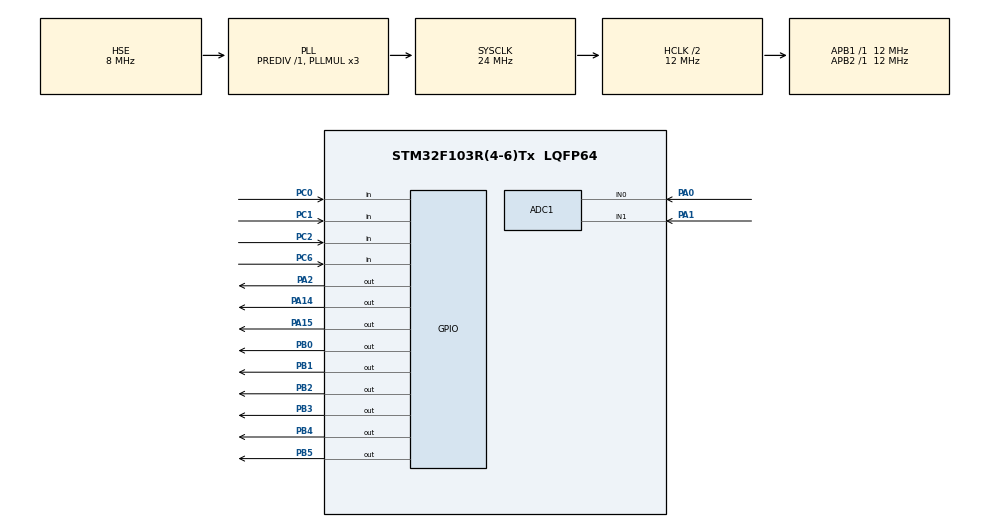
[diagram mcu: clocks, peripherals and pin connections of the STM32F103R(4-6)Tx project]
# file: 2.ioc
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ADC1.Channel-0\#ChannelRegularConversion=ADC_CHANNEL_0
ADC1.ExternalTrigConv=ADC_EXTERNALTRIGCONV_T3_TRGO
ADC1.NbrOfConversionFlag=1
ADC1.Rank-0\#ChannelRegularConversion=1
ADC1.SamplingTime-0\#ChannelRegularConversion=ADC_SAMPLETIME_1CYCLE_5
ADC1.master=1
Dma.ADC1.0.Direction=DMA_PERIPH_TO_MEMORY
Dma.ADC1.0.Instance=DMA1_Channel1
Dma.ADC1.0.MemDataAlignment=DMA_MDATAALIGN_HALFWORD
Dma.ADC1.0.MemInc=DMA_MINC_ENABLE
Dma.ADC1.0.Mode=DMA_CIRCULAR
Dma.ADC1.0.PeriphDataAlignment=DMA_PDATAALIGN_HALFWORD
Dma.ADC1.0.PeriphInc=DMA_PINC_DISABLE
Dma.ADC1.0.Priority=DMA_PRIORITY_LOW
Dma.Request0=ADC1
Mcu.Family=STM32F1
Mcu.Name=STM32F103R(4-6)Tx
Mcu.Package=LQFP64
NVIC.DMA1_Channel1_IRQn=true\:0\:0\:false\:false\:true\:false\:true\:true
NVIC.PriorityGroup=NVIC_PRIORITYGROUP_4
NVIC.TIM2_IRQn=true\:0\:0\:false\:false\:true\:true\:true\:true
PA0-WKUP.Signal=ADCx_IN0
PA1.Signal=ADCx_IN1
PA14.PinState=GPIO_PIN_SET
PA14.Signal=GPIO_Output
PA15.Signal=GPIO_Output
PA2.Signal=GPIO_Output
PB0.Signal=GPIO_Output
PB1.Signal=GPIO_Output
PB2.Signal=GPIO_Output
PB3.Signal=GPIO_Output
PB4.Signal=GPIO_Output
PB5.Signal=GPIO_Output
PC0.Signal=GPIO_Input
PC1.Signal=GPIO_Input
PC14-OSC32_IN.Mode=LSE-External-Oscillator
PC14-OSC32_IN.Signal=RCC_OSC32_IN
PC15-OSC32_OUT.Mode=LSE-External-Oscillator
PC15-OSC32_OUT.Signal=RCC_OSC32_OUT
PC2.Signal=GPIO_Input
PC6.Signal=GPIO_Input
PD0-OSC_IN.Mode=HSE-External-Oscillator
PD0-OSC_IN.Signal=RCC_OSC_IN
PD1-OSC_OUT.Mode=HSE-External-Oscillator
PD1-OSC_OUT.Signal=RCC_OSC_OUT
ProjectManager.HeapSize=0x200
ProjectManager.StackSize=0x400
ProjectManager.TargetToolchain=MDK-ARM V5
RCC.AHBCLKDivider=RCC_SYSCLK_DIV2
RCC.AHBFreq_Value=12000000
RCC.APB1Freq_Value=12000000
RCC.APB1TimFreq_Value=12000000
RCC.APB2Freq_Value=12000000
RCC.APB2TimFreq_Value=12000000
RCC.HCLKFreq_Value=12000000
RCC.PLLMUL=RCC_PLL_MUL3
RCC.PLLSourceVirtual=RCC_PLLSOURCE_HSE
RCC.SYSCLKFreq_VALUE=24000000
RCC.SYSCLKSource=RCC_SYSCLKSOURCE_PLLCLK
RCC.USBFreq_Value=24000000
SH.ADCx_IN0.0=ADC1_IN0,IN0
SH.ADCx_IN1.0=ADC1_IN1,IN1
TIM2.AutoReloadPreload=TIM_AUTORELOAD_PRELOAD_ENABLE
TIM2.Period=999
TIM2.Prescaler=5
TIM3.Period=100
TIM3.Prescaler=5
TIM3.TIM_MasterOutputTrigger=TIM_TRGO_UPDATE
VP_SYS_VS_ND.Mode=No_Debug
VP_TIM2_VS_ClockSourceINT.Mode=Internal
VP_TIM3_VS_ClockSourceINT.Mode=Internal
board=custom

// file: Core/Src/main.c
/* USER CODE BEGIN Header */
/**
  ******************************************************************************
  * @file           : main.c
  * @brief          : Main program body
  ******************************************************************************
  * @attention
  *
  * Copyright (c) 2022 STMicroelectronics.
  * All rights reserved.
  *
  * This software is licensed under terms that can be found in the LICENSE file
  * in the root directory of this software component.
  * If no LICENSE file comes with this software, it is provided AS-IS.
  *
  ******************************************************************************
  */
/* USER CODE END Header */
#include "main.h"
#include "adc.h"
#include "dma.h"
#include "tim.h"
#include "gpio.h"

void SystemClock_Config(void);

/* USER CODE BEGIN 0 */
// PWM    V       speed
// 100    1.24      74
// 10			0.59			34
unsigned char PWM = 50;
float speed_target = 0.0, speed_now = 0, speed_last;
char feedback = 0;
char dir_flag = 0;
GPIO_PinState key_flag;
unsigned char SA1_value, SB1_value, SC1_value;
GPIO_PinState SA1, SB1, SC1;
char AH, AL, BH, BL, CH, CL;

// ADC
#define NPT 256                                 //????
uint32_t adc_buf[NPT]={0};                      //????ADC???????
uint16_t ADC_value;

/* USER CODE END 0 */

int main(void)
{

  /* MCU Configuration--------------------------------------------------------*/

  /* Reset of all peripherals, Initializes the Flash interface and the Systick. */
  HAL_Init();

  /* Configure the system clock */
  SystemClock_Config();

  /* Initialize all configured peripherals */
  MX_GPIO_Init();
  MX_TIM2_Init();
  MX_DMA_Init();
  MX_ADC1_Init();
  MX_TIM3_Init();
  /* USER CODE BEGIN 2 */
  HAL_TIM_Base_Start_IT(&htim2);

	HAL_ADC_Start_DMA(&hadc1, adc_buf, NPT);  /*??ADC?DMA??,???????ADC??  12??ADC??0-4095 */
  HAL_TIM_Base_Start(&htim3);               /*?????,????????ADC*/
  /* USER CODE END 2 */

  /* Infinite loop */
  /* USER CODE BEGIN WHILE */
  while (1)
  {

		SA1 = HAL_GPIO_ReadPin(GPIOC, GPIO_PIN_0);
		SB1 = HAL_GPIO_ReadPin(GPIOC, GPIO_PIN_1);
		SC1 = HAL_GPIO_ReadPin(GPIOC, GPIO_PIN_2);

		if(SA1 == GPIO_PIN_SET) SA1_value = 1;
		else SA1_value = 0;
		if(SB1 == GPIO_PIN_SET) SB1_value = 1;
		else SB1_value = 0;
		if(SC1 == GPIO_PIN_SET) SC1_value = 1;
		else SC1_value = 0;

		feedback = ((unsigned char)(SA1_value)<<2) + ((unsigned char)(SB1_value)<<1) + (unsigned char)(SC1_value);
    /* USER CODE END WHILE */

  }
}

void SystemClock_Config(void)
{
  RCC_OscInitTypeDef RCC_OscInitStruct = {0};
  RCC_ClkInitTypeDef RCC_ClkInitStruct = {0};
  RCC_PeriphCLKInitTypeDef PeriphClkInit = {0};

  /** Initializes the RCC Oscillators according to the specified parameters
  * in the RCC_OscInitTypeDef structure.
  */
  RCC_OscInitStruct.OscillatorType = RCC_OSCILLATORTYPE_HSE;
  RCC_OscInitStruct.HSEState = RCC_HSE_ON;
  RCC_OscInitStruct.HSEPredivValue = RCC_HSE_PREDIV_DIV1;
  RCC_OscInitStruct.HSIState = RCC_HSI_ON;
  RCC_OscInitStruct.PLL.PLLState = RCC_PLL_ON;
  RCC_OscInitStruct.PLL.PLLSource = RCC_PLLSOURCE_HSE;
  RCC_OscInitStruct.PLL.PLLMUL = RCC_PLL_MUL3;
  if (HAL_RCC_OscConfig(&RCC_OscInitStruct) != HAL_OK)
  {
    Error_Handler();
  }

  /** Initializes the CPU, AHB and APB buses clocks
  */
  RCC_ClkInitStruct.ClockType = RCC_CLOCKTYPE_HCLK|RCC_CLOCKTYPE_SYSCLK
                              |RCC_CLOCKTYPE_PCLK1|RCC_CLOCKTYPE_PCLK2;
  RCC_ClkInitStruct.SYSCLKSource = RCC_SYSCLKSOURCE_PLLCLK;
  RCC_ClkInitStruct.AHBCLKDivider = RCC_SYSCLK_DIV2;
  RCC_ClkInitStruct.APB1CLKDivider = RCC_HCLK_DIV1;
  RCC_ClkInitStruct.APB2CLKDivider = RCC_HCLK_DIV1;

  if (HAL_RCC_ClockConfig(&RCC_ClkInitStruct, FLASH_LATENCY_0) != HAL_OK)
  {
    Error_Handler();
  }
  PeriphClkInit.PeriphClockSelection = RCC_PERIPHCLK_ADC;
  PeriphClkInit.AdcClockSelection = RCC_ADCPCLK2_DIV2;
  if (HAL_RCCEx_PeriphCLKConfig(&PeriphClkInit) != HAL_OK)
  {
    Error_Handler();
  }
}

/* USER CODE BEGIN 4 */
void HAL_ADC_ConvCpltCallback(ADC_HandleTypeDef* hadc)
{
//    uint16_t flag;
	ADC_value = HAL_ADC_GetValue(&hadc1);
	speed_last = speed_now;
	speed_now = (float)ADC_value * 5.0/65535.0 * 74.0/1.24;
//  HAL_ADC_Stop_DMA(&hadc1);   //??ADC?DMA??
//    flag = 1;                   //??ADC_DMA????
}

void HAL_TIM_PeriodElapsedCallback(TIM_HandleTypeDef *htim)
{
	if(htim->Instance == TIM2)
	{
		static int motor_cnt = 0, pwm_cnt = 0;
		motor_cnt ++;

		key_flag = HAL_GPIO_ReadPin(GPIOC, GPIO_PIN_6);
		if(key_flag == GPIO_PIN_SET)
		{
			dir_flag = ~dir_flag;
		}

		if(motor_cnt == 50)
		{
			motor_cnt = 0;
			pwm_cnt++;
			if(pwm_cnt >= 100)
			{
				pwm_cnt = 0;
			}

			if( pwm_cnt > PWM )
			{
				if(!dir_flag)
				 {

					switch(feedback)//
					{
						case 0x06:  AH=0;AL=0;BH=1;BL=0;CH=0;CL=0;break;
						case 0x02:	AH=0;AL=0;BH=0;BL=0;CH=1;CL=0;break;
						case 0X03:	AH=0;AL=0;BH=0;BL=0;CH=1;CL=0;break;
						case 0x01:	AH=0;AL=0;BH=0;BL=1;CH=0;CL=0;break;
						case 0x05:	AH=1;AL=0;BH=0;BL=0;CH=0;CL=0;break;
						case 0x04:  AH=0;AL=0;BH=0;BL=0;CH=0;CL=1;break;
						 default: break;
					}
				}
				else
				{
					switch(feedback)//
					{
						case 0x06:  AH=0;AL=0;BH=0;BL=1;CH=0;CL=0;break;
						case 0x02:	AH=0;AL=0;BH=0;BL=0;CH=0;CL=1;break;
						case 0X03:	AH=0;AL=0;BH=0;BL=0;CH=0;CL=1;break;
						case 0x01:	AH=0;AL=0;BH=1;BL=0;CH=0;CL=0;break;
						case 0x05:	AH=0;AL=0;BH=0;BL=0;CH=1;CL=0;break;
						case 0x04:  AH=0;AL=0;BH=0;BL=0;CH=1;CL=0;break;
						default: break;
					}
				}
			}
			else
			{

				if(!dir_flag)
				 {

					switch(feedback)//
					{
						case 0x06:  AH=0;AL=1;BH=1;BL=0;CH=0;CL=0;break;
						case 0x02:	AH=0;AL=1;BH=0;BL=0;CH=1;CL=0;break;
						case 0X03:	AH=0;AL=0;BH=0;BL=1;CH=1;CL=0;break;
						case 0x01:	AH=1;AL=0;BH=0;BL=1;CH=0;CL=0;break;
						case 0x05:	AH=1;AL=0;BH=0;BL=0;CH=0;CL=1;break;
						case 0x04:  AH=0;AL=0;BH=1;BL=0;CH=0;CL=1;break;
						default: break;
					}
				}
				else
				{
					switch(feedback)//
					{
						case 0x06:  AH=1;AL=0;BH=0;BL=1;CH=0;CL=0;break;
						case 0x02:	AH=1;AL=0;BH=0;BL=0;CH=0;CL=1;break;
						case 0X03:	AH=0;AL=0;BH=1;BL=0;CH=0;CL=1;break;
						case 0x01:	AH=0;AL=1;BH=1;BL=0;CH=0;CL=0;break;
						case 0x05:	AH=0;AL=1;BH=0;BL=0;CH=1;CL=0;break;
						case 0x04:  AH=0;AL=0;BH=0;BL=1;CH=1;CL=0;break;
						default: break;
					}
				}
			}
			if(AH == 1) HAL_GPIO_WritePin(GPIOB, GPIO_PIN_0, GPIO_PIN_SET);
			else HAL_GPIO_WritePin(GPIOB, GPIO_PIN_0, GPIO_PIN_RESET);

			if(AL == 1) HAL_GPIO_WritePin(GPIOB, GPIO_PIN_1, GPIO_PIN_SET);
			else HAL_GPIO_WritePin(GPIOB, GPIO_PIN_1, GPIO_PIN_RESET);

			if(BH == 1) HAL_GPIO_WritePin(GPIOB, GPIO_PIN_2, GPIO_PIN_SET);
			else HAL_GPIO_WritePin(GPIOB, GPIO_PIN_2, GPIO_PIN_RESET);

			if(BL == 1) HAL_GPIO_WritePin(GPIOB, GPIO_PIN_3, GPIO_PIN_SET);
			else HAL_GPIO_WritePin(GPIOB, GPIO_PIN_3, GPIO_PIN_RESET);

			if(CH == 1) HAL_GPIO_WritePin(GPIOB, GPIO_PIN_4, GPIO_PIN_SET);
			else HAL_GPIO_WritePin(GPIOB, GPIO_PIN_4, GPIO_PIN_RESET);

			if(CL == 1) HAL_GPIO_WritePin(GPIOB, GPIO_PIN_5, GPIO_PIN_SET);
			else HAL_GPIO_WritePin(GPIOB, GPIO_PIN_5, GPIO_PIN_RESET);
		}

	}
}
/* USER CODE END 4 */

void Error_Handler(void)
{
  __disable_irq();
  while (1)
  {
  }
}
